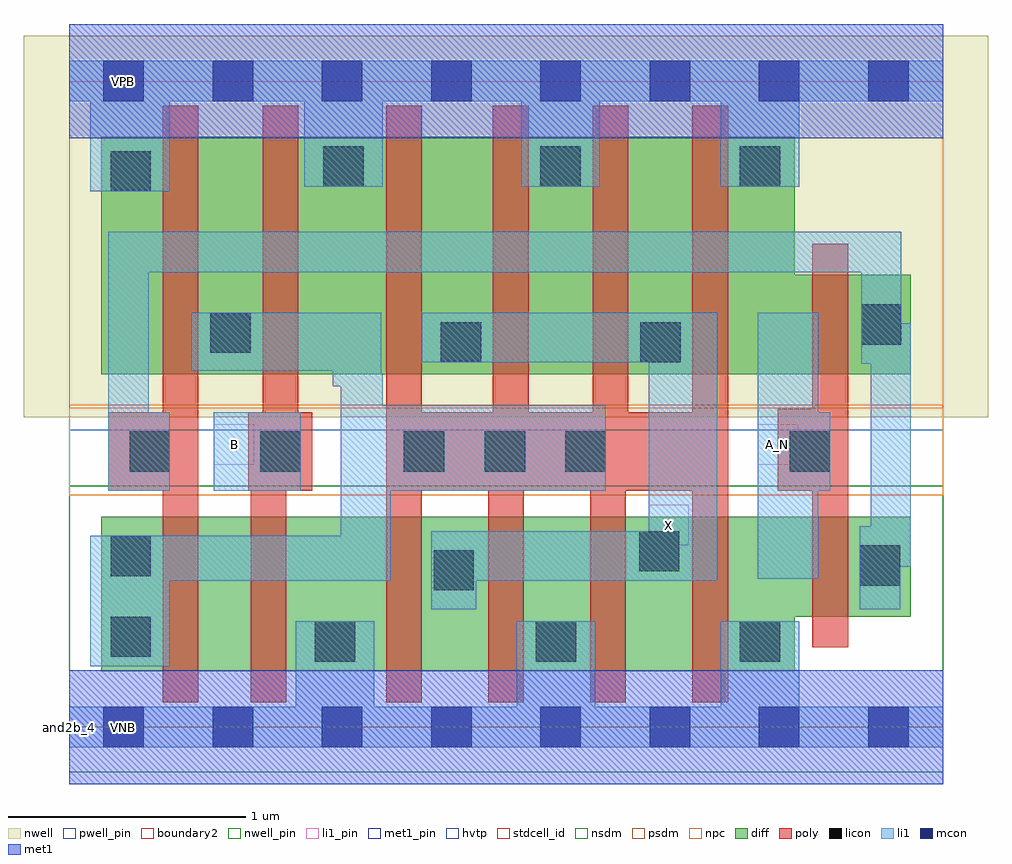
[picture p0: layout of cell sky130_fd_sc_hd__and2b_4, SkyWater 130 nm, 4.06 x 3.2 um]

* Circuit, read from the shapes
.subckt sky130_fd_sc_hd__and2b_4 A_N B VGND VNB VPB VPWR X
XM1 n1 n2 n3 VNB sky130_fd_pr__nfet_01v8 w=0.65 l=0.15
XM2 VGND B n1 VNB sky130_fd_pr__nfet_01v8 w=0.65 l=0.15
XM3 X n3 VGND VNB sky130_fd_pr__nfet_01v8 w=0.65 l=0.15 m=4
XM4 n2 A_N VGND VNB sky130_fd_pr__nfet_01v8 w=0.42 l=0.15
XM5 n3 n2 VPWR VPB sky130_fd_pr__pfet_01v8_hvt w=1 l=0.15
XM6 VPWR B n3 VPB sky130_fd_pr__pfet_01v8_hvt w=1 l=0.15
XM7 X n3 VPWR VPB sky130_fd_pr__pfet_01v8_hvt w=1 l=0.15 m=4
XM8 n2 A_N VPWR VPB sky130_fd_pr__pfet_01v8_hvt w=0.42 l=0.15
.ends

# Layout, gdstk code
import gdstk
lib = gdstk.Library(unit=1e-6, precision=1e-09)
def R(c, l, rs):  # rectangles x0, y0, x1, y1
    for r in rs: c.add(gdstk.rectangle(r[:2], r[2:], *l))
def A(c, l, x, y, w, h, nx, ny, dx, dy):  # array of equal rectangles
    R(c, l, [(x+i*dx, y+j*dy, x+i*dx+w, y+j*dy+h) for i in range(nx) for j in range(ny)])
def P(c, l, *ps):  # polygons
    for p in ps: c.add(gdstk.Polygon(p, *l))
nwell_pin = (64, 16)
nwell = (64, 20)
diff = (65, 20)
poly = (66, 20)
licon = (66, 44)
li1_pin = (67, 16)
li1 = (67, 20)
mcon = (67, 44)
met1_pin = (68, 16)
met1 = (68, 20)
hvtp = (78, 44)
stdcell_id = (81, 4)
nsdm = (93, 44)
psdm = (94, 20)
npc = (95, 20)
pwell_pin = (122, 16)
boundary2 = (236, 0)

sky130_fd_sc_hd__and2b_4 = lib.new_cell('sky130_fd_sc_hd__and2b_4')
R(sky130_fd_sc_hd__and2b_4, nwell_pin, [(0.145,2.635,0.315,2.805)])
R(sky130_fd_sc_hd__and2b_4, nwell, [(-0.19,1.305,3.87,2.91)])
P(sky130_fd_sc_hd__and2b_4, diff, [(3.545,0.885),(0.135,0.885),(0.135,0.235),(3.055,0.235),(3.055,0.465),(3.545,0.465)],
  [(3.545,1.905),(3.055,1.905),(3.055,2.485),(0.135,2.485),(0.135,1.485),(3.545,1.485)])
P(sky130_fd_sc_hd__and2b_4, poly, [(3.28,2.035),(3.13,2.035),(3.13,1.34),(2.985,1.34),(2.985,0.995),(3.13,0.995),(3.13,0.335),(3.28,0.335)],
  [(2.775,2.615),(2.625,2.615),(2.625,1.325),(2.355,1.325),(2.355,2.615),(2.205,2.615),(2.205,1.325),(1.935,1.325),(1.935,2.615),(1.785,2.615),(1.785,1.325),(1.485,1.325),(1.485,2.615),(1.335,2.615),(1.335,0.105),(1.485,0.105),(1.485,0.995),(1.765,0.995),(1.765,0.105),(1.915,0.105),(1.915,0.995),(2.195,0.995),(2.195,0.105),(2.345,0.105),(2.345,0.995),(2.625,0.995),(2.625,0.105),(2.775,0.105)],
  [(1.025,1.325),(0.965,1.325),(0.965,2.615),(0.815,2.615),(0.815,1.325),(0.755,1.325),(0.755,0.995),(0.765,0.995),(0.765,0.105),(0.915,0.105),(0.915,0.995),(1.025,0.995)],
  [(0.545,2.615),(0.395,2.615),(0.395,1.325),(0.165,1.325),(0.165,0.995),(0.395,0.995),(0.395,0.105),(0.545,0.105)])
A(sky130_fd_sc_hd__and2b_4, licon, 1.41, 1.075, 0.17, 0.17, 3, 1, 0.34, 0)
R(sky130_fd_sc_hd__and2b_4, licon, [(1.035,0.275,1.205,0.445), (1.965,0.275,2.135,0.445), (2.825,0.275,2.995,0.445), (0.175,0.295,0.345,0.465), (1.535,0.575,1.705,0.745), (3.33,0.595,3.5,0.765), (0.175,0.635,0.345,0.805), (2.4,0.655,2.57,0.825), (0.255,1.075,0.425,1.245), (0.805,1.075,0.975,1.245), (3.035,1.075,3.205,1.245), (1.565,1.535,1.735,1.705), (2.405,1.535,2.575,1.705), (0.595,1.575,0.765,1.745), (3.335,1.61,3.505,1.78), (0.175,2.255,0.345,2.425), (1.07,2.275,1.24,2.445), (1.985,2.275,2.155,2.445), (2.825,2.275,2.995,2.445)])
R(sky130_fd_sc_hd__and2b_4, li1_pin, [(2.44,0.765,2.61,0.935), (0.61,1.105,0.78,1.275), (2.9,1.105,3.07,1.275)])
R(sky130_fd_sc_hd__and2b_4, li1, [(0.61,0.995,0.975,1.325)])
P(sky130_fd_sc_hd__and2b_4, li1, [(3.68,2.805),(0,2.805),(0,2.635),(0.09,2.635),(0.09,2.255),(0.425,2.255),(0.425,2.635),(0.99,2.635),(0.99,2.275),(1.32,2.275),(1.32,2.635),(1.905,2.635),(1.905,2.275),(2.235,2.275),(2.235,2.635),(2.745,2.635),(2.745,2.275),(3.075,2.275),(3.075,2.635),(3.68,2.635)],
  [(3.545,1.7),(3.505,1.7),(3.505,2.085),(0.165,2.085),(0.165,0.995),(0.425,0.995),(0.425,1.325),(0.335,1.325),(0.335,1.915),(3.335,1.915),(3.335,1.53),(3.375,1.53),(3.375,0.845),(3.33,0.845),(3.33,0.495),(3.5,0.495),(3.5,0.675),(3.545,0.675)],
  [(3.205,1.325),(3.155,1.325),(3.155,1.745),(2.9,1.745),(2.9,0.625),(3.155,0.625),(3.155,0.995),(3.205,0.995)],
  [(2.73,1.745),(1.485,1.745),(1.485,1.535),(2.44,1.535),(2.44,0.825),(1.525,0.825),(1.525,0.495),(1.715,0.495),(1.715,0.615),(2.73,0.615)],
  [(3.68,0.085),(3.075,0.085),(3.075,0.445),(2.745,0.445),(2.745,0.085),(2.215,0.085),(2.215,0.445),(1.885,0.445),(1.885,0.085),(1.285,0.085),(1.285,0.445),(0.955,0.445),(0.955,0.085),(0,0.085),(0,-0.085),(3.68,-0.085)],
  [(2.26,1.355),(1.32,1.355),(1.32,1.485),(1.315,1.485),(1.315,1.745),(0.515,1.745),(0.515,1.5),(1.11,1.5),(1.11,1.435),(1.145,1.435),(1.145,0.805),(0.09,0.805),(0.09,0.255),(0.425,0.255),(0.425,0.615),(1.355,0.615),(1.355,0.995),(2.26,0.995)])
A(sky130_fd_sc_hd__and2b_4, mcon, 0.145, -0.085, 0.17, 0.17, 8, 2, 0.46, 2.72)
R(sky130_fd_sc_hd__and2b_4, met1_pin, [(0.145,-0.085,0.315,0.085), (0.145,2.635,0.315,2.805)])
R(sky130_fd_sc_hd__and2b_4, hvtp, [(0,1.25,3.68,2.72)])
R(sky130_fd_sc_hd__and2b_4, stdcell_id, [(0,0,3.68,2.72)])
R(sky130_fd_sc_hd__and2b_4, nsdm, [(0,-0.19,3.68,1.015)])
R(sky130_fd_sc_hd__and2b_4, psdm, [(0,1.355,3.68,2.91)])
R(sky130_fd_sc_hd__and2b_4, npc, [(0,0.975,3.68,1.345)])
R(sky130_fd_sc_hd__and2b_4, pwell_pin, [(0.145,-0.085,0.315,0.085)])
R(sky130_fd_sc_hd__and2b_4, boundary2, [(0,0,3.68,2.72)])
sky130_fd_sc_hd__and2b_4.add(gdstk.FlexPath([(0,2.72),(3.68,2.72)], 0.48, ends="flush", simple_path=True, layer=68, datatype=20))  # met1
sky130_fd_sc_hd__and2b_4.add(gdstk.FlexPath([(0,0),(3.68,0)], 0.48, ends="flush", simple_path=True, layer=68, datatype=20))  # met1
sky130_fd_sc_hd__and2b_4.add(gdstk.Label('B', (0.695,1.19), layer=67, texttype=5))
sky130_fd_sc_hd__and2b_4.add(gdstk.Label('X', (2.525,0.85), layer=67, texttype=5))
sky130_fd_sc_hd__and2b_4.add(gdstk.Label('A_N', (2.985,1.19), layer=67, texttype=5))
sky130_fd_sc_hd__and2b_4.add(gdstk.Label('VNB', (0.23,0), layer=64, texttype=59))
sky130_fd_sc_hd__and2b_4.add(gdstk.Label('VPB', (0.23,2.72), layer=64, texttype=5))
sky130_fd_sc_hd__and2b_4.add(gdstk.Label('VGND', (0.23,0), layer=68, texttype=5))
sky130_fd_sc_hd__and2b_4.add(gdstk.Label('VPWR', (0.23,2.72), layer=68, texttype=5))
sky130_fd_sc_hd__and2b_4.add(gdstk.Label('and2b_4', (0,0), layer=83, texttype=44))

lib.write_gds('sky130_fd_sc_hd__and2b_4.gds')
